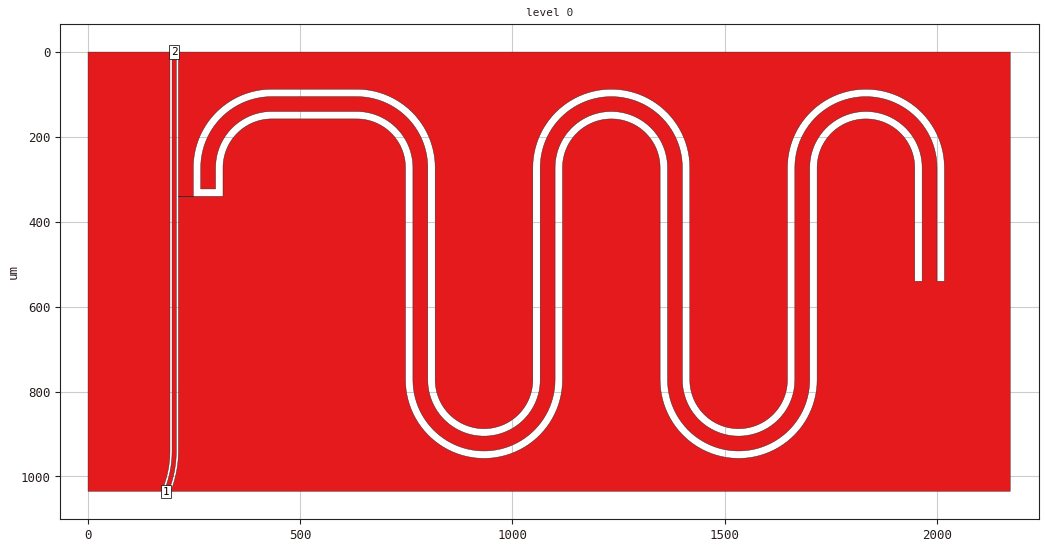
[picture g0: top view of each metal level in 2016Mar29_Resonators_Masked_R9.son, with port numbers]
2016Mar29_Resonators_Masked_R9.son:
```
FTYP SONPROJ 15 ! Sonnet Project File
VER 16.52
HEADER
LIC calt2.2.43068 b4ae2bd1247e DESKTOP-SL82IK9 Michael
DAT 04/05/2016 02:46:08
BUILT_BY_CREATED xgeom 16.52 03/26/2016 21:21:12
BUILT_BY_SAVED xgeom 16.52
MDATE 04/05/2016 02:46:07
HDATE 04/05/2016 02:46:07
END HEADER
DIM
FREQ GHZ
IND NH
LNG UM
ANG DEG
CON /OH
CAP PF
RES OH
END DIM
FREQ
ABS 5.8 6.5 
END FREQ
CONTROL
ABS
OPTIONS  -d 
SPEED 0
CACHE_ABS 1
TARG_ABS 300
Q_ACC N
DET_ABS_RES Y
END CONTROL
GEO
TMET "Lossless" 0 SUP 0 0 0 0
BMET "Lossless" 0 SUP 0 0 0 0
BOX 1 2175 1035 870 414 20 0
      1000 1 1 0 0 0 0 "Air"
      500 11.9 1 5e-006 0 0 0 "Silicon (intrinsic)"
LORGN 0 1035 U 
POR1 STD
POLY 9 1
12
2 50 0 0 0 203 0 
POR1 STD
POLY 9 1
27
1 50 0 0 0 184.213895 1035 
NUM 3
0 30 -1 N 9 1 1 100 100 0 0 0 Y
192.31 1028.07
195.01 1020.35
197.46 1012.56
199.66 1004.68
201.61 996.74
203.3 988.74
204.73 980.7
205.91 972.61
206.82 964.49
207.48 956.34
207.87 948.17
208 940
208 0
198 0
198 940
197.87 947.85
197.5 955.7
196.87 963.53
195.99 971.33
194.86 979.1
193.48 986.83
191.86 994.52
189.99 1002.14
187.87 1009.71
185.52 1017.2
182.93 1024.61
180.1 1031.94
178.8006639 1035
189.627126 1035
192.31 1028.07
END
0 18 -1 N 12 1 1 100 100 0 0 0 Y
175.46 1030.06
178.23 1022.89
180.77 1015.63
183.08 1008.29
185.15 1000.88
186.98 993.4
188.57 985.88
189.92 978.3
191.03 970.69
191.89 963.05
192.51 955.38
192.88 947.69
193 940
193 0
0 0
0 1035
173.369732 1035
175.46 1030.06
END
0 1229 -1 N 13 1 1 100 100 0 0 0 Y
2173 0
213 0
213 340
248 340
248 272.5
248.1 266.57
248.38 260.65
248.86 254.74
249.52 248.84
250.37 242.97
251.41 237.14
252.64 231.33
254.05 225.57
255.65 219.86
257.43 214.2
259.38 208.61
261.52 203.08
263.83 197.61
266.32 192.23
268.98 186.93
271.81 181.72
274.8 176.6
277.95 171.58
281.27 166.66
284.74 161.85
288.36 157.15
292.13 152.58
296.05 148.12
300.11 143.8
304.3 139.6
308.62 135.55
313.08 131.63
317.65 127.86
322.35 124.24
327.16 120.77
332.08 117.45
337.1 114.3
342.22 111.31
347.43 108.48
352.73 105.82
358.11 103.33
363.58 101.02
369.11 98.88
374.7 96.93
380.36 95.15
386.07 93.55
391.83 92.14
397.64 90.91
403.47 89.87
409.34 89.02
415.24 88.35
421.15 87.88
427.07 87.59
433 87.5
633 87.5
638.93 87.59
644.85 87.88
650.76 88.35
656.66 89.02
662.53 89.87
668.36 90.91
674.17 92.14
679.93 93.55
685.64 95.15
691.3 96.93
696.89 98.88
702.42 101.02
707.89 103.33
713.27 105.82
718.57 108.48
723.78 111.31
728.9 114.3
733.92 117.45
738.84 120.77
743.65 124.24
748.35 127.86
752.92 131.63
757.38 135.55
761.7 139.6
765.9 143.8
769.95 148.12
773.87 152.58
777.64 157.15
781.26 161.85
784.73 166.66
788.05 171.58
791.2 176.6
794.19 181.72
797.02 186.93
799.68 192.23
802.17 197.61
804.48 203.08
806.62 208.61
808.57 214.2
810.35 219.86
811.95 225.57
813.36 231.33
814.59 237.14
815.63 242.97
816.48 248.84
817.15 254.74
817.62 260.65
817.9 266.57
818 272.5
818 772.5
818.24 779.87
818.94 787.21
820.12 794.48
821.76 801.67
823.86 808.74
826.4 815.66
829.39 822.4
832.8 828.93
836.62 835.24
840.84 841.28
845.43 847.05
850.39 852.5
855.69 857.63
861.3 862.41
867.21 866.82
873.39 870.84
879.81 874.46
886.45 877.66
893.28 880.42
900.28 882.75
907.41 884.62
914.65 886.03
921.96 886.97
929.31 887.44
936.69 887.44
944.04 886.97
951.35 886.03
958.59 884.62
965.72 882.75
972.72 880.42
979.55 877.66
986.19 874.46
992.61 870.84
998.79 866.82
1004.7 862.41
1010.32 857.63
1015.61 852.5
1020.57 847.05
1025.16 841.28
1029.38 835.24
1033.2 828.93
1036.61 822.4
1039.6 815.66
1042.14 808.74
1044.24 801.67
1045.88 794.48
1047.06 787.21
1047.76 779.87
1048 772.5
1048 272.5
1048.38 260.65
1049.52 248.84
1051.41 237.14
1054.05 225.57
1057.43 214.2
1061.52 203.08
1066.32 192.23
1071.81 181.72
1077.95 171.58
1084.74 161.85
1092.13 152.58
1100.11 143.8
1108.62 135.55
1117.65 127.86
1127.16 120.77
1137.1 114.3
1147.43 108.48
1158.11 103.33
1169.11 98.88
1180.36 95.15
1191.83 92.14
1203.47 89.87
1215.24 88.35
1227.07 87.59
1238.93 87.59
1250.76 88.35
1262.53 89.87
1274.17 92.14
1285.64 95.15
1296.89 98.88
1307.89 103.33
1318.57 108.48
1328.9 114.3
1338.84 120.77
1348.35 127.86
1357.38 135.55
1365.9 143.8
1373.87 152.58
1381.26 161.85
1388.05 171.58
1394.19 181.72
1399.68 192.23
1404.48 203.08
1408.57 214.2
1411.95 225.57
1414.59 237.14
1416.48 248.84
1417.62 260.65
1418 272.5
1418 772.5
1418.24 779.87
1418.94 787.21
1420.12 794.48
1421.76 801.67
1423.86 808.74
1426.4 815.66
1429.39 822.4
1432.8 828.93
1436.62 835.24
1440.84 841.28
1445.43 847.05
1450.39 852.5
1455.69 857.63
1461.3 862.41
1467.21 866.82
1473.39 870.84
1479.81 874.46
1486.45 877.66
1493.28 880.42
1500.28 882.75
1507.41 884.62
1514.65 886.03
1521.96 886.97
1529.31 887.44
1536.69 887.44
1544.04 886.97
1551.35 886.03
1558.59 884.62
1565.72 882.75
1572.72 880.42
1579.55 877.66
1586.19 874.46
1592.61 870.84
1598.79 866.82
1604.7 862.41
1610.32 857.63
1615.61 852.5
1620.57 847.05
1625.16 841.28
1629.38 835.24
1633.2 828.93
1636.61 822.4
1639.6 815.66
1642.14 808.74
1644.24 801.67
1645.88 794.48
1647.06 787.21
1647.76 779.87
1648 772.5
1648 272.5
1648.38 260.65
1649.52 248.84
1651.41 237.14
1654.05 225.57
1657.43 214.2
1661.52 203.08
1666.32 192.23
1671.81 181.72
1677.95 171.58
1684.74 161.85
1692.13 152.58
1700.11 143.8
1708.62 135.55
1717.65 127.86
1727.16 120.77
1737.1 114.3
1747.43 108.48
1758.11 103.33
1769.11 98.88
1780.36 95.15
1791.83 92.14
1803.47 89.87
1815.24 88.35
1827.07 87.59
1838.93 87.59
1850.76 88.35
1862.53 89.87
1874.17 92.14
1885.64 95.15
1896.89 98.88
1907.89 103.33
1918.57 108.48
1928.9 114.3
1938.84 120.77
1948.35 127.86
1957.38 135.55
1965.9 143.8
1973.87 152.58
1981.26 161.85
1988.05 171.58
1994.19 181.72
1999.68 192.23
2004.48 203.08
2008.57 214.2
2011.95 225.57
2014.59 237.14
2016.48 248.84
2017.62 260.65
2018 272.5
2018 540.1
2000.5 540.1
2000.5 272.5
2000.16 261.77
1999.13 251.08
1997.41 240.48
1995.02 230.01
1991.97 219.72
1988.26 209.64
1983.91 199.82
1978.95 190.3
1973.38 181.12
1967.24 172.32
1960.54 163.92
1953.32 155.97
1945.61 148.5
1937.44 141.54
1928.83 135.12
1919.83 129.26
1910.48 123.99
1900.8 119.34
1890.85 115.31
1880.66 111.92
1870.27 109.2
1859.73 107.15
1849.08 105.77
1838.37 105.09
1827.63 105.09
1816.92 105.77
1806.27 107.15
1795.73 109.2
1785.34 111.92
1775.15 115.31
1765.2 119.34
1755.53 123.99
1746.17 129.26
1737.17 135.12
1728.57 141.54
1720.39 148.5
1712.68 155.97
1705.46 163.92
1698.76 172.32
1692.62 181.12
1687.05 190.3
1682.09 199.82
1677.74 209.64
1674.03 219.72
1670.98 230.01
1668.59 240.48
1666.88 251.08
1665.84 261.77
1665.5 272.5
1665.5 772.5
1665.23 780.99
1664.41 789.44
1663.06 797.83
1661.17 806.11
1658.75 814.25
1655.82 822.22
1652.38 829.99
1648.45 837.52
1644.05 844.78
1639.19 851.75
1633.89 858.39
1628.18 864.68
1622.08 870.59
1615.61 876.09
1608.81 881.17
1601.69 885.81
1594.29 889.97
1586.63 893.66
1578.76 896.85
1570.7 899.52
1562.48 901.68
1554.15 903.3
1545.72 904.39
1537.25 904.93
1528.75 904.93
1520.28 904.39
1511.85 903.3
1503.52 901.68
1495.3 899.52
1487.24 896.85
1479.37 893.66
1471.71 889.97
1464.31 885.81
1457.19 881.17
1450.39 876.09
1443.92 870.59
1437.82 864.68
1432.11 858.39
1426.81 851.75
1421.95 844.78
1417.55 837.52
1413.62 829.99
1410.18 822.22
1407.25 814.25
1404.83 806.11
1402.94 797.83
1401.59 789.44
1400.77 780.99
1400.5 772.5
1400.5 272.5
1400.16 261.77
1399.13 251.08
1397.41 240.48
1395.02 230.01
1391.97 219.72
1388.26 209.64
1383.91 199.82
1378.95 190.3
1373.38 181.12
1367.24 172.32
1360.54 163.92
1353.32 155.97
1345.61 148.5
1337.44 141.54
1328.83 135.12
1319.83 129.26
1310.48 123.99
1300.8 119.34
1290.85 115.31
1280.66 111.92
1270.27 109.2
1259.73 107.15
1249.08 105.77
1238.37 105.09
1227.63 105.09
1216.92 105.77
1206.27 107.15
1195.73 109.2
1185.34 111.92
1175.15 115.31
1165.2 119.34
1155.53 123.99
1146.17 129.26
1137.17 135.12
1128.57 141.54
1120.39 148.5
1112.68 155.97
1105.46 163.92
1098.76 172.32
1092.62 181.12
1087.05 190.3
1082.09 199.82
1077.74 209.64
1074.03 219.72
1070.98 230.01
1068.59 240.48
1066.88 251.08
1065.84 261.77
1065.5 272.5
1065.5 772.5
1065.23 780.99
1064.41 789.44
1063.06 797.83
1061.17 806.11
1058.75 814.25
1055.82 822.22
1052.38 829.99
1048.45 837.52
1044.05 844.78
1039.19 851.75
1033.89 858.39
1028.18 864.68
1022.08 870.59
1015.61 876.09
1008.81 881.17
1001.69 885.81
994.29 889.97
986.63 893.66
978.76 896.85
970.7 899.52
962.48 901.68
954.15 903.3
945.72 904.39
937.25 904.93
928.75 904.93
920.28 904.39
911.85 903.3
903.52 901.68
895.3 899.52
887.24 896.85
879.37 893.66
871.71 889.97
864.31 885.81
857.19 881.17
850.39 876.09
843.92 870.59
837.82 864.68
832.11 858.39
826.81 851.75
821.95 844.78
817.55 837.52
813.62 829.99
810.18 822.22
807.25 814.25
804.83 806.11
802.94 797.83
801.59 789.44
800.77 780.99
800.5 772.5
800.5 272.5
800.41 267.13
800.16 261.77
799.73 256.42
799.13 251.08
798.35 245.77
797.41 240.48
796.3 235.23
795.02 230.01
793.58 224.84
791.97 219.72
790.19 214.65
788.26 209.64
786.16 204.7
783.91 199.82
781.51 195.02
778.95 190.3
776.24 185.67
773.38 181.12
770.38 176.67
767.24 172.32
763.96 168.07
760.54 163.92
757 159.89
753.32 155.97
749.53 152.18
745.61 148.5
741.58 144.96
737.44 141.54
733.18 138.26
728.83 135.12
724.38 132.12
719.83 129.26
715.19 126.55
710.48 123.99
705.68 121.59
700.8 119.34
695.86 117.24
690.85 115.31
685.78 113.53
680.66 111.92
675.49 110.48
670.27 109.2
665.02 108.09
659.73 107.15
654.42 106.37
649.08 105.77
643.73 105.34
638.37 105.09
633 105
433 105
427.63 105.09
422.27 105.34
416.92 105.77
411.58 106.37
406.27 107.15
400.98 108.09
395.73 109.2
390.51 110.48
385.34 111.92
380.22 113.53
375.15 115.31
370.14 117.24
365.2 119.34
360.32 121.59
355.53 123.99
350.81 126.55
346.17 129.26
341.62 132.12
337.17 135.12
332.82 138.26
328.57 141.54
324.42 144.96
320.39 148.5
316.47 152.18
312.68 155.97
309 159.89
305.46 163.92
302.04 168.07
298.76 172.32
295.62 176.67
292.62 181.12
289.76 185.67
287.05 190.3
284.49 195.02
282.09 199.82
279.84 204.7
277.74 209.64
275.81 214.65
274.03 219.72
272.42 224.84
270.98 230.01
269.7 235.23
268.59 240.48
267.65 245.77
266.88 251.08
266.27 256.42
265.84 261.77
265.59 267.13
265.5 272.5
265.5 322.5
300.5 322.5
300.5 272.5
300.57 268.25
300.77 264.01
301.11 259.78
301.59 255.56
302.2 251.35
302.94 247.17
303.82 243.02
304.83 238.89
305.98 234.8
307.25 230.75
308.65 226.74
310.18 222.78
311.84 218.87
313.62 215.01
315.53 211.21
317.55 207.48
319.69 203.81
321.95 200.22
324.33 196.69
326.81 193.25
329.41 189.89
332.11 186.61
334.91 183.42
337.82 180.32
340.82 177.32
343.92 174.41
347.11 171.61
350.39 168.91
353.75 166.31
357.19 163.83
360.72 161.45
364.31 159.19
367.98 157.05
371.71 155.03
375.51 153.12
379.37 151.34
383.28 149.68
387.24 148.15
391.25 146.75
395.3 145.48
399.39 144.33
403.52 143.32
407.67 142.44
411.85 141.7
416.06 141.09
420.28 140.61
424.51 140.27
428.75 140.07
433 140
633 140
637.25 140.07
641.49 140.27
645.72 140.61
649.94 141.09
654.15 141.7
658.33 142.44
662.48 143.32
666.61 144.33
670.7 145.48
674.75 146.75
678.76 148.15
682.72 149.68
686.63 151.34
690.49 153.12
694.29 155.03
698.02 157.05
701.69 159.19
705.28 161.45
708.81 163.83
712.25 166.31
715.61 168.91
718.89 171.61
722.08 174.41
725.18 177.32
728.18 180.32
731.09 183.42
733.89 186.61
736.59 189.89
739.19 193.25
741.67 196.69
744.05 200.22
746.31 203.81
748.45 207.48
750.47 211.21
752.38 215.01
754.16 218.87
755.82 222.78
757.35 226.74
758.75 230.75
760.02 234.8
761.17 238.89
762.18 243.02
763.06 247.17
763.8 251.35
764.41 255.56
764.89 259.78
765.23 264.01
765.43 268.25
765.5 272.5
765.5 772.5
765.84 783.23
766.88 793.92
768.59 804.52
770.98 814.99
774.03 825.28
777.74 835.36
782.09 845.18
787.05 854.69
792.62 863.88
798.76 872.68
805.46 881.08
812.68 889.03
820.39 896.5
828.57 903.46
837.17 909.88
846.17 915.74
855.53 921
865.2 925.66
875.15 929.69
885.34 933.08
895.73 935.8
906.27 937.85
916.92 939.23
927.63 939.91
938.37 939.91
949.08 939.23
959.73 937.85
970.27 935.8
980.66 933.08
990.85 929.69
1000.8 925.66
1010.48 921
1019.83 915.74
1028.83 909.88
1037.44 903.46
1045.61 896.5
1053.32 889.03
1060.54 881.08
1067.24 872.68
1073.38 863.88
1078.95 854.69
1083.91 845.18
1088.26 835.36
1091.97 825.28
1095.02 814.99
1097.41 804.52
1099.13 793.92
1100.16 783.23
1100.5 772.5
1100.5 272.5
1100.77 264.01
1101.59 255.56
1102.94 247.17
1104.83 238.89
1107.25 230.75
1110.18 222.78
1113.62 215.01
1117.55 207.48
1121.95 200.22
1126.81 193.25
1132.11 186.61
1137.82 180.32
1143.92 174.41
1150.39 168.91
1157.19 163.83
1164.31 159.19
1171.71 155.03
1179.37 151.34
1187.24 148.15
1195.3 145.48
1203.52 143.32
1211.85 141.7
1220.28 140.61
1228.75 140.07
1237.25 140.07
1245.72 140.61
1254.15 141.7
1262.48 143.32
1270.7 145.48
1278.76 148.15
1286.63 151.34
1294.29 155.03
1301.69 159.19
1308.81 163.83
1315.61 168.91
1322.08 174.41
1328.18 180.32
1333.89 186.61
1339.19 193.25
1344.05 200.22
1348.45 207.48
1352.38 215.01
1355.82 222.78
1358.75 230.75
1361.17 238.89
1363.06 247.17
1364.41 255.56
1365.23 264.01
1365.5 272.5
1365.5 772.5
1365.84 783.23
1366.88 793.92
1368.59 804.52
1370.98 814.99
1374.03 825.28
1377.74 835.36
1382.09 845.18
1387.05 854.69
1392.62 863.88
1398.76 872.68
1405.46 881.08
1412.68 889.03
1420.39 896.5
1428.57 903.46
1437.17 909.88
1446.17 915.74
1455.53 921
1465.2 925.66
1475.15 929.69
1485.34 933.08
1495.73 935.8
1506.27 937.85
1516.92 939.23
1527.63 939.91
1538.37 939.91
1549.08 939.23
1559.73 937.85
1570.27 935.8
1580.66 933.08
1590.85 929.69
1600.8 925.66
1610.48 921
1619.83 915.74
1628.83 909.88
1637.44 903.46
1645.61 896.5
1653.32 889.03
1660.54 881.08
1667.24 872.68
1673.38 863.88
1678.95 854.69
1683.91 845.18
1688.26 835.36
1691.97 825.28
1695.02 814.99
1697.41 804.52
1699.13 793.92
1700.16 783.23
1700.5 772.5
1700.5 272.5
1700.77 264.01
1701.59 255.56
1702.94 247.17
1704.83 238.89
1707.25 230.75
1710.18 222.78
1713.62 215.01
1717.55 207.48
1721.95 200.22
1726.81 193.25
1732.11 186.61
1737.82 180.32
1743.92 174.41
1750.39 168.91
1757.19 163.83
1764.31 159.19
1771.71 155.03
1779.37 151.34
1787.24 148.15
1795.3 145.48
1803.52 143.32
1811.85 141.7
1820.28 140.61
1828.75 140.07
1837.25 140.07
1845.72 140.61
1854.15 141.7
1862.48 143.32
1870.7 145.48
1878.76 148.15
1886.63 151.34
1894.29 155.03
1901.69 159.19
1908.81 163.83
1915.61 168.91
1922.08 174.41
1928.18 180.32
1933.89 186.61
1939.19 193.25
1944.05 200.22
1948.45 207.48
1952.38 215.01
1955.82 222.78
1958.75 230.75
1961.17 238.89
1963.06 247.17
1964.41 255.56
1965.23 264.01
1965.5 272.5
1965.5 540.1
1948 540.1
1948 272.5
1947.76 265.13
1947.06 257.79
1945.88 250.52
1944.24 243.33
1942.14 236.26
1939.6 229.34
1936.61 222.6
1933.2 216.07
1929.38 209.76
1925.16 203.72
1920.57 197.95
1915.61 192.5
1910.32 187.37
1904.7 182.59
1898.79 178.18
1892.61 174.16
1886.19 170.54
1879.55 167.34
1872.72 164.58
1865.72 162.25
1858.59 160.38
1851.35 158.97
1844.04 158.03
1836.69 157.56
1829.31 157.56
1821.96 158.03
1814.65 158.97
1807.41 160.38
1800.28 162.25
1793.28 164.58
1786.45 167.34
1779.81 170.54
1773.39 174.16
1767.21 178.18
1761.3 182.59
1755.69 187.37
1750.39 192.5
1745.43 197.95
1740.84 203.72
1736.62 209.76
1732.8 216.07
1729.39 222.6
1726.4 229.34
1723.86 236.26
1721.76 243.33
1720.12 250.52
1718.94 257.79
1718.24 265.13
1718 272.5
1718 772.5
1717.62 784.35
1716.48 796.16
1714.59 807.86
1711.95 819.43
1708.57 830.8
1704.48 841.92
1699.68 852.77
1694.19 863.28
1688.05 873.42
1681.26 883.15
1673.87 892.42
1665.9 901.2
1657.38 909.45
1648.35 917.14
1638.84 924.23
1628.9 930.7
1618.57 936.52
1607.89 941.67
1596.89 946.12
1585.64 949.85
1574.17 952.86
1562.53 955.13
1550.76 956.64
1538.93 957.4
1527.07 957.4
1515.24 956.64
1503.47 955.13
1491.83 952.86
1480.36 949.85
1469.11 946.12
1458.11 941.67
1447.43 936.52
1437.1 930.7
1427.16 924.23
1417.65 917.14
1408.62 909.45
1400.11 901.2
1392.13 892.42
1384.74 883.15
1377.95 873.42
1371.81 863.28
1366.32 852.77
1361.52 841.92
1357.43 830.8
1354.05 819.43
1351.41 807.86
1349.52 796.16
1348.38 784.35
1348 772.5
1348 272.5
1347.76 265.13
1347.06 257.79
1345.88 250.52
1344.24 243.33
1342.14 236.26
1339.6 229.34
1336.61 222.6
1333.2 216.07
1329.38 209.76
1325.16 203.72
1320.57 197.95
1315.61 192.5
1310.32 187.37
1304.7 182.59
1298.79 178.18
1292.61 174.16
1286.19 170.54
1279.55 167.34
1272.72 164.58
1265.72 162.25
1258.59 160.38
1251.35 158.97
1244.04 158.03
1236.69 157.56
1229.31 157.56
1221.96 158.03
1214.65 158.97
1207.41 160.38
1200.28 162.25
1193.28 164.58
1186.45 167.34
1179.81 170.54
1173.39 174.16
1167.21 178.18
1161.3 182.59
1155.69 187.37
1150.39 192.5
1145.43 197.95
1140.84 203.72
1136.62 209.76
1132.8 216.07
1129.39 222.6
1126.4 229.34
1123.86 236.26
1121.76 243.33
1120.12 250.52
1118.94 257.79
1118.24 265.13
1118 272.5
1118 772.5
1117.62 784.35
1116.48 796.16
1114.59 807.86
1111.95 819.43
1108.57 830.8
1104.48 841.92
1099.68 852.77
1094.19 863.28
1088.05 873.42
1081.26 883.15
1073.87 892.42
1065.9 901.2
1057.38 909.45
1048.35 917.14
1038.84 924.23
1028.9 930.7
1018.57 936.52
1007.89 941.67
996.89 946.12
985.64 949.85
974.17 952.86
962.53 955.13
950.76 956.64
938.93 957.4
927.07 957.4
915.24 956.64
903.47 955.13
891.83 952.86
880.36 949.85
869.11 946.12
858.11 941.67
847.43 936.52
837.1 930.7
827.16 924.23
817.65 917.14
808.62 909.45
800.11 901.2
792.13 892.42
784.74 883.15
777.95 873.42
771.81 863.28
766.32 852.77
761.52 841.92
757.43 830.8
754.05 819.43
751.41 807.86
749.52 796.16
748.38 784.35
748 772.5
748 272.5
747.94 268.81
747.76 265.13
747.47 261.46
747.06 257.79
746.53 254.15
745.88 250.52
745.12 246.91
744.24 243.33
743.25 239.78
742.14 236.26
740.92 232.78
739.6 229.34
738.16 225.95
736.61 222.6
734.96 219.31
733.2 216.07
731.34 212.88
729.38 209.76
727.32 206.71
725.16 203.72
722.91 200.8
720.57 197.95
718.13 195.18
715.61 192.5
713 189.89
710.32 187.37
707.55 184.93
704.7 182.59
701.78 180.34
698.79 178.18
695.74 176.12
692.61 174.16
689.43 172.3
686.19 170.54
682.9 168.89
679.55 167.34
676.16 165.9
672.72 164.58
669.24 163.36
665.72 162.25
662.17 161.26
658.59 160.38
654.98 159.62
651.35 158.97
647.71 158.44
644.04 158.03
640.37 157.74
636.69 157.56
633 157.5
433 157.5
429.31 157.56
425.63 157.74
421.96 158.03
418.29 158.44
414.65 158.97
411.02 159.62
407.41 160.38
403.83 161.26
400.28 162.25
396.76 163.36
393.28 164.58
389.84 165.9
386.45 167.34
383.1 168.89
379.81 170.54
376.57 172.3
373.39 174.16
370.26 176.12
367.21 178.18
364.22 180.34
361.3 182.59
358.45 184.93
355.69 187.37
353 189.89
350.39 192.5
347.87 195.18
345.43 197.95
343.09 200.8
340.84 203.72
338.68 206.71
336.62 209.76
334.66 212.88
332.8 216.07
331.04 219.31
329.39 222.6
327.84 225.95
326.4 229.34
325.08 232.78
323.86 236.26
322.75 239.78
321.76 243.33
320.88 246.91
320.12 250.52
319.47 254.15
318.94 257.79
318.53 261.46
318.24 265.13
318.06 268.81
318 272.5
318 340
248 340
213 340
213 340
213 940
212.87 948.33
212.47 956.66
211.8 964.97
210.86 973.25
209.67 981.5
208.2 989.7
206.48 997.85
204.5 1005.95
202.25 1013.98
199.75 1021.93
197 1029.8
194.992278 1035
2173 1035
2173 0
END
END GEO
OPT
MAX 100
VARS
END
END OPT
VARSWP
END VARSWP
QSG
IMPORT YES
EXTRA_METAL NO
UNITS NO
ALIGN NO
REF NO
VIEW_RES NO
METALS NO
USED NO
END QSG
```
